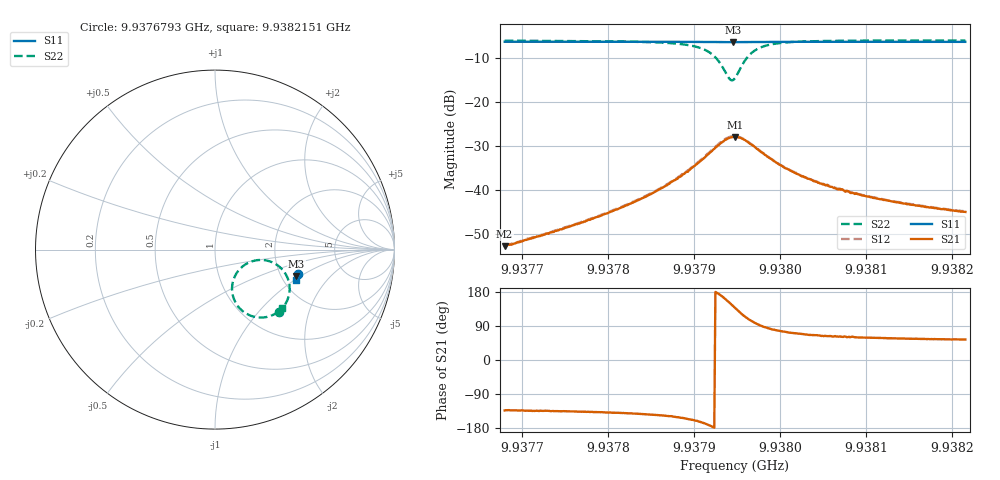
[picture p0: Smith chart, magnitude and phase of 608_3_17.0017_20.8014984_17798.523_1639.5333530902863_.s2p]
#  HZ  S  RI  R  50.00
! Rohde & Schwarz Vector Network Analyzer
! Rohde-Schwarz,ZNB20-2Port,1311601062101988,3.16
! Created: UTC 3/20/2024, 11:19:19 PM
! freq[Hz]  re:S11  im:S11  re:S21  im:S21  re:S12  im:S12  re:S22  im:S22
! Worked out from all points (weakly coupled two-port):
!   401 points, 9.9376793 GHz to 9.9382151 GHz, reference 50 ohm
!   highest |S21| = -27.97 dB at 9.9379472 GHz (marker M1); lowest = -52.8 dB at 9.9376793 GHz (marker M2)
!   lowest |S11| = -6.4 dB at 9.9379445 GHz (marker M3), VSWR 2.82, Z = 120 - j46 ohm
!   |S11| at or under -10 dB: nowhere
!   |S22| runs from -15.1 to -6.1 dB; largest |S21 - S12| = 0.0018
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9.93767926e9  0.4632 -0.1333  -0.00157 -0.00167  -0.0016 -0.00169  0.3543 -0.3449
9.93776901e9  0.4609 -0.1392  -0.00309 -0.00293  -0.0032 -0.00293  0.3359 -0.3572
9.93781992e9  0.4594 -0.1428  -0.00507 -0.00422  -0.00522 -0.00424  0.3158 -0.3671
9.93785877e9  0.4582 -0.1454  -0.0083 -0.00567  -0.00852 -0.00565  0.2861 -0.3758
9.9378936e9  0.4565 -0.1481  -0.0152 -0.00663  -0.0156 -0.00659  0.2276 -0.3761
9.93791369e9  0.4549 -0.1493  -0.0238 -0.00472  -0.0245 -0.00437  0.1605 -0.3478
9.93792441e9  0.4539 -0.1496  -0.0301 0.000217  -0.0308 0.000874  0.1162 -0.298
9.93793244e9  0.4529 -0.1494  -0.034 0.00747  -0.0349 0.00892  0.0954 -0.2317
9.93794048e9  0.4525 -0.1486  -0.0341 0.0184  -0.0344 0.0199  0.1118 -0.1463
9.9379445e9  0.4525 -0.1481  -0.032 0.0238  -0.0318 0.0256  0.1398 -0.1068
9.93794718e9  0.4527 -0.1479  -0.0295 0.027  -0.029 0.0286  0.1647 -0.0857
9.93795388e9  0.4532 -0.1474  -0.0215 0.0323  -0.0204 0.0336  0.2375 -0.0584
9.93796191e9  0.4542 -0.1477  -0.0116 0.033  -0.0105 0.0337  0.3159 -0.0695
9.93796861e9  0.4549 -0.1483  -0.00545 0.0311  -0.00434 0.0314  0.3603 -0.0965
9.93797531e9  0.4552 -0.1489  -0.00125 0.028  -0.000253 0.0282  0.3878 -0.127
9.93798737e9  0.4555 -0.1502  0.00285 0.0228  0.0034 0.0229  0.41 -0.1743
9.93800344e9  0.4554 -0.1519  0.00472 0.0176  0.00522 0.0177  0.4161 -0.2177
9.93803693e9  0.4549 -0.1547  0.00528 0.0118  0.00545 0.0117  0.4091 -0.2661
9.93808382e9  0.4536 -0.1581  0.0044 0.00812  0.00482 0.00798  0.3962 -0.2963
9.93812669e9  0.4523 -0.1611  0.00406 0.0063  0.0042 0.00628  0.3874 -0.3107
9.93817089e9  0.4512 -0.1641  0.00364 0.00523  0.00377 0.00525  0.3805 -0.3204
9.9382151e9  0.4499 -0.1669  0.00329 0.00454  0.00346 0.00452  0.3747 -0.3276
